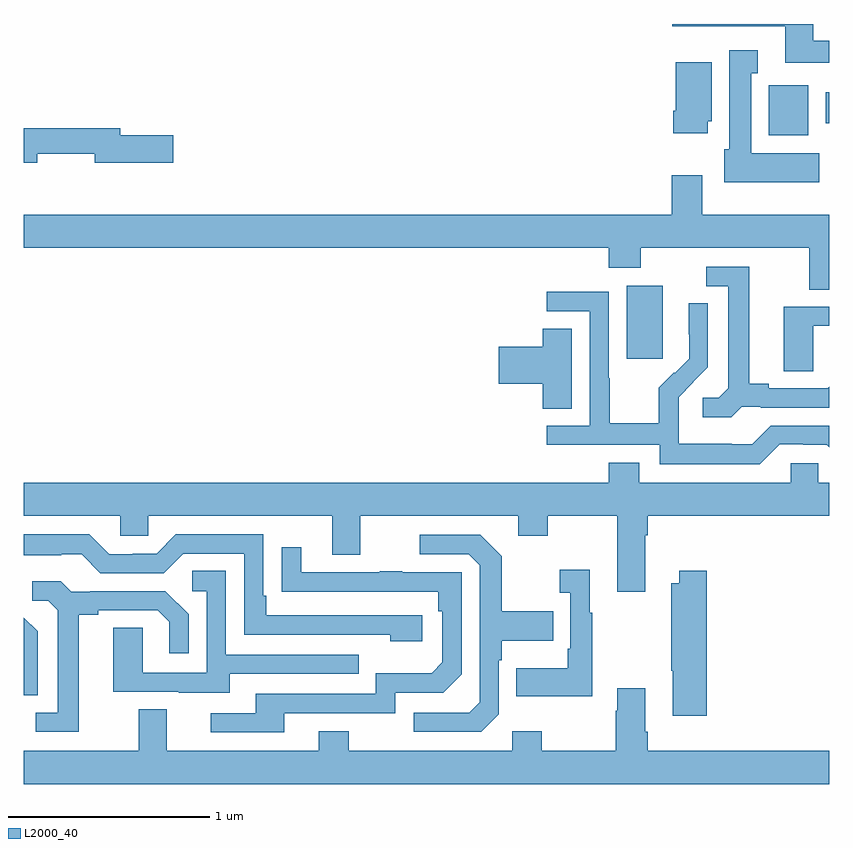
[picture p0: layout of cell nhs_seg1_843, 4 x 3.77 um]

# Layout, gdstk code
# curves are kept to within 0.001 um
import gdstk
lib = gdstk.Library(unit=1e-6, precision=1e-09)
def R(c, l, rs):  # rectangles x0, y0, x1, y1
    for r in rs: c.add(gdstk.rectangle(r[:2], r[2:], *l))
def P(c, l, *ps):  # polygons
    for p in ps: c.add(gdstk.Polygon(p, *l))
L2000_40 = (2000, 40)

nhs_seg1_843 = lib.new_cell('nhs_seg1_843')
R(nhs_seg1_843, L2000_40, [(159.995,528.537,160.174,528.898), (160.701,529.646,160.897,529.896), (160.982,529.705,161,529.861)])
P(nhs_seg1_843, L2000_40, [(161,530.116),(160.921,530.116),(160.921,530.199),(160.221,530.199),(160.221,530.187),(160.781,530.187),(160.781,530.006),(161,530.006)],
  [(160.951,529.558),(160.612,529.558),(160.612,529.955),(160.645,529.955),(160.645,530.068),(160.505,530.068),(160.505,529.578),(160.478,529.578),(160.478,529.412),(160.951,529.412)],
  [(160.396,529.716),(160.417,529.716),(160.417,530.008),(160.238,530.008),(160.238,529.768),(160.226,529.768),(160.226,529.656),(160.396,529.656)],
  [(157.066,529.554),(157.352,529.554),(157.352,529.511),(157.741,529.511),(157.741,529.646),(157.48,529.646),(157.48,529.682),(157,529.682),(157,529.511),(157.066,529.511)],
  [(161,529.252),(160.369,529.252),(160.369,529.447),(160.217,529.447),(160.217,529.252),(157,529.252),(157,529.088),(159.905,529.088),(159.905,528.989),(160.065,528.989),(160.065,529.088),(160.901,529.088),(160.901,528.88),(161,528.88)],
  [(160.566,528.297),(160.66,528.297),(160.66,528.294),(161,528.294),(161,528.396),(160.994,528.39),(160.699,528.39),(160.699,528.413),(160.603,528.413),(160.603,528.993),(160.389,528.993),(160.389,528.897),(160.499,528.897),(160.499,528.389),(160.452,528.342),(160.371,528.342),(160.371,528.245),(160.514,528.245)],
  [(160.755,528.111),(160.871,528.111),(160.871,528.108),(160.989,528.108),(161,528.097),(161,528.204),(160.71,528.204),(160.617,528.111),(160.517,528.111),(160.517,528.115),(160.254,528.115),(160.254,528.249),(160.252,528.249),(160.252,528.346),(160.398,528.494),(160.398,528.812),(160.302,528.812),(160.302,528.658),(160.304,528.658),(160.304,528.536),(160.233,528.465),(160.23,528.468),(160.153,528.391),(160.153,528.217),(159.909,528.217),(159.909,528.44),(159.906,528.44),(159.906,528.87),(159.597,528.87),(159.597,528.771),(159.81,528.771),(159.81,528.204),(159.597,528.204),(159.597,528.108),(160.158,528.108),(160.158,528.011),(160.655,528.011)],
  [(160.92,528.699),(161,528.699),(161,528.795),(160.775,528.795),(160.775,528.475),(160.92,528.475)],
  [(159.721,528.686),(159.578,528.686),(159.578,528.596),(159.36,528.596),(159.36,528.413),(159.578,528.413),(159.578,528.289),(159.721,528.289)],
  [(160.087,527.66),(160.1,527.66),(160.1,527.756),(161,527.756),(161,527.92),(160.947,527.92),(160.947,528.018),(160.809,528.018),(160.809,527.92),(160.057,527.92),(160.057,528.019),(159.905,528.019),(159.905,527.92),(157,527.92),(157,527.756),(157.479,527.756),(157.479,527.658),(157.617,527.658),(157.617,527.756),(158.531,527.756),(158.531,527.562),(158.671,527.562),(158.671,527.756),(159.455,527.756),(159.455,527.657),(159.603,527.657),(159.603,527.756),(159.947,527.756),(159.947,527.379),(160.087,527.379)],
  [(158.98,527.262),(158.203,527.262),(158.203,527.359),(158.19,527.359),(158.19,527.664),(157.755,527.664),(157.659,527.568),(157.541,527.568),(157.541,527.565),(157.425,527.565),(157.325,527.665),(157,527.665),(157,527.561),(157.187,527.561),(157.187,527.565),(157.287,527.565),(157.38,527.472),(157.695,527.472),(157.791,527.568),(158.094,527.568),(158.094,527.166),(158.819,527.166),(158.819,527.132),(158.98,527.132)],
  [(159.36,526.77),(159.36,527.039),(159.373,527.039),(159.373,527.135),(159.629,527.135),(159.629,527.283),(159.373,527.283),(159.373,527.555),(159.267,527.661),(158.967,527.661),(158.967,527.565),(159.21,527.565),(159.264,527.511),(159.264,526.83),(159.213,526.779),(158.937,526.779),(158.937,526.683),(159.273,526.683)],
  [(158.293,526.776),(158.844,526.776),(158.844,526.878),(159.084,526.878),(159.174,526.968),(159.174,527.475),(158.879,527.475),(158.879,527.48),(158.767,527.48),(158.767,527.475),(158.377,527.475),(158.377,527.599),(158.281,527.599),(158.281,527.38),(159.058,527.379),(159.058,527.282),(159.078,527.282),(159.078,527.028),(159.025,526.975),(158.748,526.975),(158.748,526.872),(158.153,526.872),(158.153,526.776),(157.929,526.776),(157.929,526.68),(158.293,526.68)],
  [(159.823,527.275),(159.811,527.275),(159.811,527.488),(159.663,527.488),(159.663,527.375),(159.714,527.375),(159.714,527.095),(159.702,527.095),(159.702,526.999),(159.445,526.999),(159.445,526.859),(159.823,526.859)],
  [(158.023,526.971),(158.663,526.971),(158.663,527.067),(158.004,527.067),(158.004,527.483),(157.836,527.483),(157.836,527.382),(157.908,527.382),(157.908,526.977),(157.59,526.977),(157.59,527.201),(157.445,527.201),(157.445,526.881),(157.769,526.881),(157.769,526.877),(158.023,526.877)],
  [(160.391,527.482),(160.256,527.482),(160.256,527.422),(160.216,527.422),(160.216,526.987),(160.223,526.987),(160.223,526.764),(160.391,526.764)],
  [(157.273,527.264),(157.369,527.264),(157.369,527.286),(157.664,527.286),(157.721,527.229),(157.721,527.073),(157.818,527.073),(157.818,527.266),(157.702,527.382),(157.33,527.382),(157.33,527.379),(157.236,527.379),(157.184,527.431),(157.041,527.431),(157.041,527.334),(157.122,527.334),(157.169,527.287),(157.169,526.779),(157.059,526.779),(157.059,526.683),(157.273,526.683)],
  [(157.068,527.182),(157,527.25),(157,526.864),(157.068,526.864)],
  [(161,526.588),(160.1,526.588),(160.1,526.684),(160.087,526.684),(160.087,526.9),(159.947,526.9),(159.947,526.787),(159.94,526.787),(159.94,526.588),(159.573,526.588),(159.573,526.687),(159.426,526.687),(159.426,526.588),(158.613,526.588),(158.613,526.687),(158.465,526.687),(158.465,526.588),(157.711,526.588),(157.711,526.796),(157.571,526.796),(157.571,526.588),(157,526.588),(157,526.424),(161,526.424)])

lib.write_gds('nhs_seg1_843.gds')
